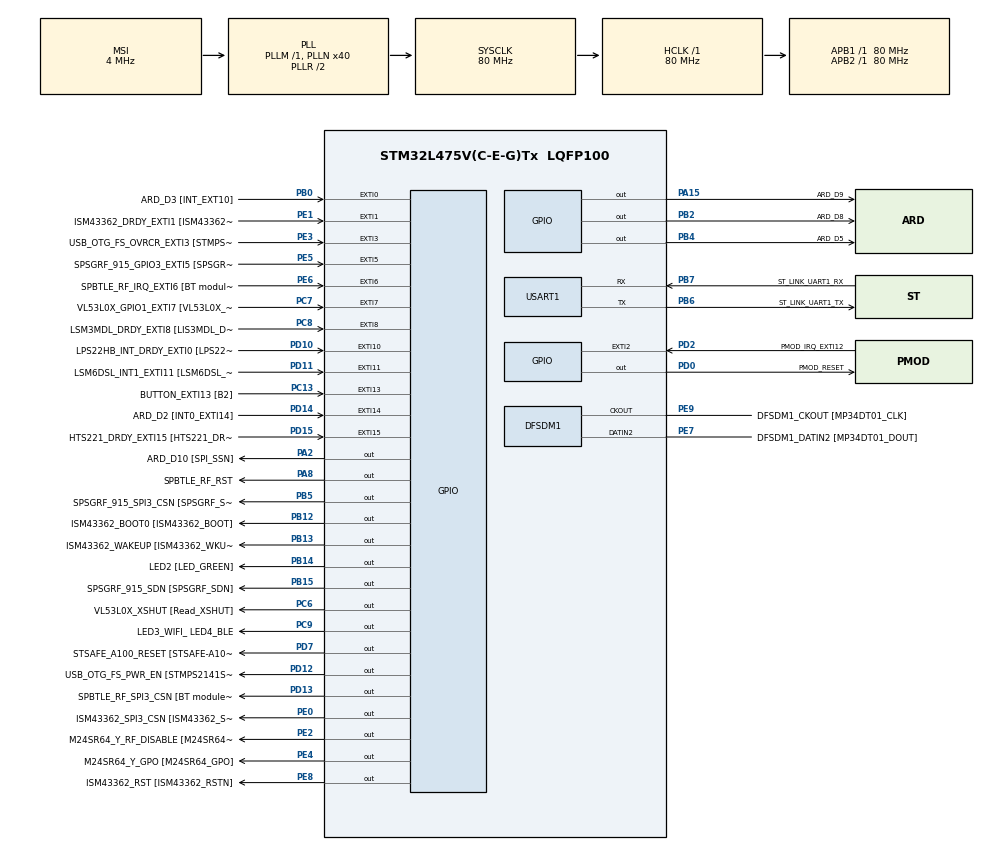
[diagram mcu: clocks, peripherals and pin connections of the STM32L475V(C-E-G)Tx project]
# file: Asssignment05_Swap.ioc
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Mcu.Family=STM32L4
Mcu.Name=STM32L475V(C-E-G)Tx
Mcu.Package=LQFP100
NVIC.EXTI15_10_IRQn=true\:0\:0\:false\:false\:true\:true\:true\:true
NVIC.EXTI9_5_IRQn=true\:0\:0\:false\:false\:true\:true\:true\:true
NVIC.PriorityGroup=NVIC_PRIORITYGROUP_4
PA0.GPIO_Label=ARD_D1 [UART4_TX]
PA0.Signal=UART4_TX
PA1.GPIO_Label=ARD_D0 [UART4_RX]
PA1.Signal=UART4_RX
PA10.GPIO_Label=USB_OTG_FS_ID
PA10.Signal=USB_OTG_FS_ID
PA11.GPIO_Label=USB_OTG_FS_DM
PA11.Signal=USB_OTG_FS_DM
PA12.GPIO_Label=USB_OTG_FS_DP
PA12.Signal=USB_OTG_FS_DP
PA13\ (JTMS-SWDIO).GPIO_Label=SYS_JTMS_SWDIO
PA13\ (JTMS-SWDIO).Mode=Serial_Wire
PA13\ (JTMS-SWDIO).Signal=SYS_JTMS-SWDIO
PA14\ (JTCK-SWCLK).GPIO_Label=SYS_JTCK_SWCLK
PA14\ (JTCK-SWCLK).Mode=Serial_Wire
PA14\ (JTCK-SWCLK).Signal=SYS_JTCK-SWCLK
PA15\ (JTDI).GPIO_Label=ARD_D9
PA15\ (JTDI).Signal=GPIO_Output
PA2.GPIO_Label=ARD_D10 [SPI_SSN]
PA2.Signal=GPIO_Output
PA3.GPIO_Label=ARD_D4
PA3.Signal=S_TIM2_CH4
PA4.GPIO_Label=ARD_D7
PA4.Signal=ADCx_IN9
PA5.GPIO_Label=ARD_D13 [SPI1_SCK]
PA5.Signal=SPI1_SCK
PA6.GPIO_Label=ARD_D12 [SPI1_MISO]
PA6.Signal=SPI1_MISO
PA7.GPIO_Label=ARD_D11 [SPI1_MOSI]
PA7.Signal=SPI1_MOSI
PA8.GPIO_Label=SPBTLE_RF_RST
PA8.Signal=GPIO_Output
PA9.GPIO_Label=USB_OTG_FS_VBUS [STMPS2141STR_OUT]
PA9.Signal=USB_OTG_FS_VBUS
PB0.GPIO_Label=ARD_D3 [INT_EXT10]
PB0.Signal=GPXTI0
PB1.GPIO_Label=ARD_D6 [ADC1_IN6]
PB1.Signal=ADCx_IN16
PB10.GPIO_Label=INTERNAL_I2C2_SCL [VL53L0X_SCL]
PB10.GPIO_Pu=GPIO_PULLUP
PB10.Signal=I2C2_SCL
PB11.GPIO_Label=INTERNAL_I2C2_SDA [VL53L0X_SDA]
PB11.GPIO_Pu=GPIO_PULLUP
PB11.Signal=I2C2_SDA
PB12.GPIO_Label=ISM43362_BOOT0 [ISM43362_BOOT]
PB12.Signal=GPIO_Output
PB13.GPIO_Label=ISM43362_WAKEUP [ISM43362_WKUP]
PB13.Signal=GPIO_Output
PB14.GPIO_Label=LED2 [LED_GREEN]
PB14.Signal=GPIO_Output
PB15.GPIO_Label=SPSGRF_915_SDN [SPSGRF_SDN]
PB15.Signal=GPIO_Output
PB2.GPIO_Label=ARD_D8
PB2.Signal=GPIO_Output
PB3\ (JTDO-TRACESWO).GPIO_Label=SYS_JTD0_SWO
PB3\ (JTDO-TRACESWO).Signal=SYS_JTDO-SWO
PB4\ (NJTRST).GPIO_Label=ARD_D5
PB4\ (NJTRST).Signal=GPIO_Output
PB5.GPIO_Label=SPSGRF_915_SPI3_CSN [SPSGRF_SPI_CS]
PB5.PinState=GPIO_PIN_SET
PB5.Signal=GPIO_Output
PB6.GPIO_Label=ST_LINK_UART1_TX
PB6.Mode=Asynchronous
PB6.Signal=USART1_TX
PB7.GPIO_Label=ST_LINK_UART1_RX
PB7.Mode=Asynchronous
PB7.Signal=USART1_RX
PB8.GPIO_Label=ARD_D15 [I2C1_SCL]
PB8.Signal=I2C1_SCL
PB9.GPIO_Label=ARD_D14 [I2C1_SDA]
PB9.Signal=I2C1_SDA
PC0.GPIO_Label=ARD_A5 [ADC]
PC0.Signal=ADCx_IN1
PC1.GPIO_Label=ARD_A4 [ADC]
PC1.Signal=ADCx_IN2
PC10.GPIO_Label=INTERNAL_SPI3_SCK [BT module_SPI_SCLK] [ISM43362_SCK]
PC10.Signal=SPI3_SCK
PC11.GPIO_Label=INTERNAL_SPI3_MISO [BT module_SPI_MISO] [ISM43362_MISO]
PC11.Signal=SPI3_MISO
PC12.GPIO_Label=INTERNAL_SPI3_MOSI [BT module_SPI_MOSI] [ISM43362_MOSI]
PC12.Signal=SPI3_MOSI
PC13.GPIO_Label=BUTTON_EXTI13 [B2]
PC13.GPIO_ModeDefaultEXTI=GPIO_MODE_IT_FALLING
PC13.Signal=GPXTI13
PC14-OSC32_IN\ (PC14).Mode=LSE-External-Oscillator
PC14-OSC32_IN\ (PC14).Signal=RCC_OSC32_IN
PC15-OSC32_OUT\ (PC15).Mode=LSE-External-Oscillator
PC15-OSC32_OUT\ (PC15).Signal=RCC_OSC32_OUT
PC2.GPIO_Label=ARD_A3 [ADC]
PC2.Signal=ADCx_IN3
PC3.GPIO_Label=ARD_A2 [ADC]
PC3.Signal=ADCx_IN4
PC4.GPIO_Label=ARD_A1 [ADC]
PC4.Signal=ADCx_IN13
PC5.GPIO_Label=ARD_A0 [ADC]
PC5.Signal=ADCx_IN14
PC6.GPIO_Label=VL53L0X_XSHUT [Read_XSHUT]
PC6.Signal=GPIO_Output
PC7.GPIO_Label=VL53L0X_GPIO1_EXTI7 [VL53L0X_GPIO1]
PC7.Signal=GPXTI7
PC8.GPIO_Label=LSM3MDL_DRDY_EXTI8 [LIS3MDL_DRDY]
PC8.Signal=GPXTI8
PC9.GPIO_Label=LED3_WIFI_ LED4_BLE
PC9.Signal=GPIO_Output
PD0.GPIO_Label=PMOD_RESET
PD0.Signal=GPIO_Output
PD1.GPIO_Label=PMOD_SPI2_SCK
PD1.Signal=SPI2_SCK
PD10.GPIO_Label=LPS22HB_INT_DRDY_EXTI0 [LPS22HB_INT_DRDY] 
PD10.Signal=GPXTI10
PD11.GPIO_Label=LSM6DSL_INT1_EXTI11 [LSM6DSL_INT1]
PD11.Signal=GPXTI11
PD12.GPIO_Label=USB_OTG_FS_PWR_EN [STMPS2141STR_EN]
PD12.Signal=GPIO_Output
PD13.GPIO_Label=SPBTLE_RF_SPI3_CSN [BT module_SPI_CS]
PD13.PinState=GPIO_PIN_SET
PD13.Signal=GPIO_Output
PD14.GPIO_Label=ARD_D2 [INT0_EXTI14]
PD14.Signal=GPXTI14
PD15.GPIO_Label=HTS221_DRDY_EXTI15 [HTS221_DRDY]
PD15.Signal=GPXTI15
PD2.GPIO_Label=PMOD_IRQ_EXTI12
PD2.Signal=GPXTI2
PD3.GPIO_Label=PMOD_UART2_CTS
PD3.Signal=USART2_CTS
PD4.GPIO_Label=PMOD_UART2_RTS
PD4.Signal=USART2_RTS
PD5.GPIO_Label=PMOD_UART2_TX
PD5.Signal=USART2_TX
PD6.GPIO_Label=PMOD_UART2_RX
PD6.Signal=USART2_RX
PD7.GPIO_Label=STSAFE_A100_RESET [STSAFE-A100_RESET]
PD7.Signal=GPIO_Output
PD8.GPIO_Label=INTERNAL_UART3_TX [ISM43362_RX]
PD8.Signal=USART3_TX
PD9.GPIO_Label=INTERNAL_UART3_RX [ISM43362_TX]
PD9.Signal=USART3_RX
PE0.GPIO_Label=ISM43362_SPI3_CSN [ISM43362_SSN]
PE0.PinState=GPIO_PIN_SET
PE0.Signal=GPIO_Output
PE1.GPIO_Label=ISM43362_DRDY_EXTI1 [ISM43362_DATARDY]
PE1.Signal=GPXTI1
PE10.GPIO_Label=QUADSPI_CLK [MX25R6435F_SCLK]
PE10.Signal=QUADSPI_CLK
PE11.GPIO_Label=QUADSPI_NCS [MX25R6435F_SCLK]
PE11.Signal=QUADSPI_NCS
PE12.GPIO_Label=OQUADSPI_BK1_IO0 [MX25R6435F_IO0]
PE12.Signal=QUADSPI_BK1_IO0
PE13.GPIO_Label=QUADSPI_BK1_IO1 [MX25R6435F_IO1]
PE13.Signal=QUADSPI_BK1_IO1
PE14.GPIO_Label=QUAD_SPI_BK1_IO2 [MX25R6435F_IO2]
PE14.Signal=QUADSPI_BK1_IO2
PE15.GPIO_Label=QUAD_SPI_BK1_IO3 [MX25R6435F_IO3]
PE15.Signal=QUADSPI_BK1_IO3
PE2.GPIO_Label=M24SR64_Y_RF_DISABLE [M24SR64_RFDIS]
PE2.Signal=GPIO_Output
PE3.GPIO_Label=USB_OTG_FS_OVRCR_EXTI3 [STMPS2141STR_FAULT]
PE3.Signal=GPXTI3
PE4.GPIO_Label=M24SR64_Y_GPO [M24SR64_GPO]
PE4.Signal=GPIO_Output
PE5.GPIO_Label=SPSGRF_915_GPIO3_EXTI5 [SPSGRF_GPIO_3]
PE5.Signal=GPXTI5
PE6.GPIO_Label=SPBTLE_RF_IRQ_EXTI6 [BT module_SPI_IRQ]
PE6.Signal=GPXTI6
PE7.GPIO_Label=DFSDM1_DATIN2 [MP34DT01_DOUT]
PE7.Signal=S_DATAIN2DFSDM1
PE8.GPIO_Label=ISM43362_RST [ISM43362_RSTN]
PE8.Signal=GPIO_Output
PE9.GPIO_Label=DFSDM1_CKOUT [MP34DT01_CLK]
PE9.Signal=S_CKOUTDFSDM1
ProjectManager.HeapSize=0x200
ProjectManager.StackSize=0x400
ProjectManager.TargetToolchain=STM32CubeIDE
RCC.ADCFreq_Value=48000000
RCC.AHBFreq_Value=80000000
RCC.APB1Freq_Value=80000000
RCC.APB1TimFreq_Value=80000000
RCC.APB2Freq_Value=80000000
RCC.APB2TimFreq_Value=80000000
RCC.CortexFreq_Value=80000000
RCC.HCLKFreq_Value=80000000
RCC.HSE_VALUE=8000000
RCC.HSI_VALUE=16000000
RCC.MSI_VALUE=4000000
RCC.PLLN=40
RCC.PLLSAI1N=24
RCC.SYSCLKFreq_VALUE=80000000
RCC.SYSCLKSource=RCC_SYSCLKSOURCE_PLLCLK
RCC.USBFreq_Value=48000000
RCC.VCOOutputFreq_Value=160000000
SH.ADCx_IN1.0=ADC1_IN1
SH.ADCx_IN13.0=ADC1_IN13
SH.ADCx_IN14.0=ADC1_IN14
SH.ADCx_IN16.0=ADC1_IN16
SH.ADCx_IN2.0=ADC1_IN2
SH.ADCx_IN3.0=ADC1_IN3
SH.ADCx_IN4.0=ADC1_IN4
SH.ADCx_IN9.0=ADC1_IN9
SH.S_CKOUTDFSDM1.0=DFSDM1_CKOUT,CKOUT
SH.S_CKOUTDFSDM1.1=DFSDM1_CKOUT,PDM_SPI_Input_from_ch12_and_Internal_Clock
SH.S_DATAIN2DFSDM1.0=DFSDM1_DATIN2,PDM_SPI_Input_from_ch12_and_Internal_Clock
SH.S_TIM2_CH4.0=TIM2_CH4
USART1.VirtualMode-Asynchronous=VM_ASYNC
board=B-L475E-IOT01A1

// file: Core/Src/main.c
/* USER CODE BEGIN Header */
/**
  ******************************************************************************
  * @file           : main.c
  * @brief          : Main program body
  ******************************************************************************
  * @attention
  *
  * Copyright (c) 2023 STMicroelectronics.
  * All rights reserved.
  *
  * This software is licensed under terms that can be found in the LICENSE file
  * in the root directory of this software component.
  * If no LICENSE file comes with this software, it is provided AS-IS.
  *
  ******************************************************************************
  */
/* USER CODE END Header */
#include "main.h"

/* USER CODE BEGIN Includes */
#include <stdio.h>
/* USER CODE END Includes */

DFSDM_Channel_HandleTypeDef hdfsdm1_channel1;

UART_HandleTypeDef huart1;

void SystemClock_Config(void);
static void MX_GPIO_Init(void);
static void MX_DFSDM1_Init(void);
static void MX_USART1_UART_Init(void);
/* USER CODE BEGIN PFP */
// You will need to determine the types of the two parameters
void swap_pointers(int** ptr1, int** ptr2);
/* USER CODE END PFP */

/* USER CODE BEGIN 0 */
// You will need to determine the types of the two parameters
void swap_pointers(int** ptr1, int** ptr2)
{
  // Implement the function body here
    int *temp = *ptr1;
    *ptr1 = *ptr2;
    *ptr2 = temp;

}
/* USER CODE END 0 */

int main(void)
{
  /* USER CODE BEGIN 1 */
  int a = 1234;
  int b = 5678;
  int* pa =&a;
  int* pb =&b;

  /* USER CODE END 1 */

  /* MCU Configuration--------------------------------------------------------*/

  /* Reset of all peripherals, Initializes the Flash interface and the Systick. */
  HAL_Init();

  /* Configure the system clock */
  SystemClock_Config();

  /* Initialize all configured peripherals */
  MX_GPIO_Init();
  MX_DFSDM1_Init();
  MX_USART1_UART_Init();

  /* Infinite loop */
  while (1)
  {

    /* USER CODE BEGIN 3 */
    // Change the print to display the pointer addresses using %p
    printf("Before swap: a=%p, b=%p\r\n", *pa, *pb);
    printf("\n");
    //HAL_Delay(1000);
    // modify with the appropriate arguments:
    swap_pointers(&pa, &pb);
    //swap_pointers(a, b);

    // Change the print to display the pointer addresses using %p
    printf("After swap:  a=%p, b=%p\r\n", *pa, *pb);
    printf("\n");
    HAL_Delay(1000);
  }
  /* USER CODE END 3 */
}

void SystemClock_Config(void)
{
  RCC_OscInitTypeDef RCC_OscInitStruct = {0};
  RCC_ClkInitTypeDef RCC_ClkInitStruct = {0};

  /** Configure the main internal regulator output voltage
  */
  if (HAL_PWREx_ControlVoltageScaling(PWR_REGULATOR_VOLTAGE_SCALE1) != HAL_OK)
  {
    Error_Handler();
  }

  /** Configure LSE Drive Capability
  */
  HAL_PWR_EnableBkUpAccess();
  __HAL_RCC_LSEDRIVE_CONFIG(RCC_LSEDRIVE_LOW);

  /** Initializes the RCC Oscillators according to the specified parameters
  * in the RCC_OscInitTypeDef structure.
  */
  RCC_OscInitStruct.OscillatorType = RCC_OSCILLATORTYPE_LSE|RCC_OSCILLATORTYPE_MSI;
  RCC_OscInitStruct.LSEState = RCC_LSE_ON;
  RCC_OscInitStruct.MSIState = RCC_MSI_ON;
  RCC_OscInitStruct.MSICalibrationValue = 0;
  RCC_OscInitStruct.MSIClockRange = RCC_MSIRANGE_6;
  RCC_OscInitStruct.PLL.PLLState = RCC_PLL_ON;
  RCC_OscInitStruct.PLL.PLLSource = RCC_PLLSOURCE_MSI;
  RCC_OscInitStruct.PLL.PLLM = 1;
  RCC_OscInitStruct.PLL.PLLN = 40;
  RCC_OscInitStruct.PLL.PLLP = RCC_PLLP_DIV7;
  RCC_OscInitStruct.PLL.PLLQ = RCC_PLLQ_DIV2;
  RCC_OscInitStruct.PLL.PLLR = RCC_PLLR_DIV2;
  if (HAL_RCC_OscConfig(&RCC_OscInitStruct) != HAL_OK)
  {
    Error_Handler();
  }

  /** Initializes the CPU, AHB and APB buses clocks
  */
  RCC_ClkInitStruct.ClockType = RCC_CLOCKTYPE_HCLK|RCC_CLOCKTYPE_SYSCLK
                              |RCC_CLOCKTYPE_PCLK1|RCC_CLOCKTYPE_PCLK2;
  RCC_ClkInitStruct.SYSCLKSource = RCC_SYSCLKSOURCE_PLLCLK;
  RCC_ClkInitStruct.AHBCLKDivider = RCC_SYSCLK_DIV1;
  RCC_ClkInitStruct.APB1CLKDivider = RCC_HCLK_DIV1;
  RCC_ClkInitStruct.APB2CLKDivider = RCC_HCLK_DIV1;

  if (HAL_RCC_ClockConfig(&RCC_ClkInitStruct, FLASH_LATENCY_4) != HAL_OK)
  {
    Error_Handler();
  }

  /** Enable MSI Auto calibration
  */
  HAL_RCCEx_EnableMSIPLLMode();
}

static void MX_DFSDM1_Init(void)
{

  hdfsdm1_channel1.Instance = DFSDM1_Channel1;
  hdfsdm1_channel1.Init.OutputClock.Activation = ENABLE;
  hdfsdm1_channel1.Init.OutputClock.Selection = DFSDM_CHANNEL_OUTPUT_CLOCK_SYSTEM;
  hdfsdm1_channel1.Init.OutputClock.Divider = 2;
  hdfsdm1_channel1.Init.Input.Multiplexer = DFSDM_CHANNEL_EXTERNAL_INPUTS;
  hdfsdm1_channel1.Init.Input.DataPacking = DFSDM_CHANNEL_STANDARD_MODE;
  hdfsdm1_channel1.Init.Input.Pins = DFSDM_CHANNEL_FOLLOWING_CHANNEL_PINS;
  hdfsdm1_channel1.Init.SerialInterface.Type = DFSDM_CHANNEL_SPI_RISING;
  hdfsdm1_channel1.Init.SerialInterface.SpiClock = DFSDM_CHANNEL_SPI_CLOCK_INTERNAL;
  hdfsdm1_channel1.Init.Awd.FilterOrder = DFSDM_CHANNEL_FASTSINC_ORDER;
  hdfsdm1_channel1.Init.Awd.Oversampling = 1;
  hdfsdm1_channel1.Init.Offset = 0;
  hdfsdm1_channel1.Init.RightBitShift = 0x00;
  if (HAL_DFSDM_ChannelInit(&hdfsdm1_channel1) != HAL_OK)
  {
    Error_Handler();
  }

}

static void MX_USART1_UART_Init(void)
{

  huart1.Instance = USART1;
  huart1.Init.BaudRate = 115200;
  huart1.Init.WordLength = UART_WORDLENGTH_8B;
  huart1.Init.StopBits = UART_STOPBITS_1;
  huart1.Init.Parity = UART_PARITY_NONE;
  huart1.Init.Mode = UART_MODE_TX_RX;
  huart1.Init.HwFlowCtl = UART_HWCONTROL_NONE;
  huart1.Init.OverSampling = UART_OVERSAMPLING_16;
  huart1.Init.OneBitSampling = UART_ONE_BIT_SAMPLE_DISABLE;
  huart1.AdvancedInit.AdvFeatureInit = UART_ADVFEATURE_NO_INIT;
  if (HAL_UART_Init(&huart1) != HAL_OK)
  {
    Error_Handler();
  }

}

static void MX_GPIO_Init(void)
{
  GPIO_InitTypeDef GPIO_InitStruct = {0};

  /* GPIO Ports Clock Enable */
  __HAL_RCC_GPIOE_CLK_ENABLE();
  __HAL_RCC_GPIOC_CLK_ENABLE();
  __HAL_RCC_GPIOA_CLK_ENABLE();
  __HAL_RCC_GPIOB_CLK_ENABLE();
  __HAL_RCC_GPIOD_CLK_ENABLE();

  /*Configure GPIO pin Output Level */
  HAL_GPIO_WritePin(GPIOE, M24SR64_Y_RF_DISABLE_Pin|M24SR64_Y_GPO_Pin|ISM43362_RST_Pin, GPIO_PIN_RESET);

  /*Configure GPIO pin Output Level */
  HAL_GPIO_WritePin(GPIOA, ARD_D10_Pin|SPBTLE_RF_RST_Pin|ARD_D9_Pin, GPIO_PIN_RESET);

  /*Configure GPIO pin Output Level */
  HAL_GPIO_WritePin(GPIOB, ARD_D8_Pin|ISM43362_BOOT0_Pin|ISM43362_WAKEUP_Pin|LED2_Pin
                          |SPSGRF_915_SDN_Pin|ARD_D5_Pin, GPIO_PIN_RESET);

  /*Configure GPIO pin Output Level */
  HAL_GPIO_WritePin(GPIOD, USB_OTG_FS_PWR_EN_Pin|PMOD_RESET_Pin|STSAFE_A100_RESET_Pin, GPIO_PIN_RESET);

  /*Configure GPIO pin Output Level */
  HAL_GPIO_WritePin(SPBTLE_RF_SPI3_CSN_GPIO_Port, SPBTLE_RF_SPI3_CSN_Pin, GPIO_PIN_SET);

  /*Configure GPIO pin Output Level */
  HAL_GPIO_WritePin(GPIOC, VL53L0X_XSHUT_Pin|LED3_WIFI__LED4_BLE_Pin, GPIO_PIN_RESET);

  /*Configure GPIO pin Output Level */
  HAL_GPIO_WritePin(SPSGRF_915_SPI3_CSN_GPIO_Port, SPSGRF_915_SPI3_CSN_Pin, GPIO_PIN_SET);

  /*Configure GPIO pin Output Level */
  HAL_GPIO_WritePin(ISM43362_SPI3_CSN_GPIO_Port, ISM43362_SPI3_CSN_Pin, GPIO_PIN_SET);

  /*Configure GPIO pins : M24SR64_Y_RF_DISABLE_Pin M24SR64_Y_GPO_Pin ISM43362_RST_Pin ISM43362_SPI3_CSN_Pin */
  GPIO_InitStruct.Pin = M24SR64_Y_RF_DISABLE_Pin|M24SR64_Y_GPO_Pin|ISM43362_RST_Pin|ISM43362_SPI3_CSN_Pin;
  GPIO_InitStruct.Mode = GPIO_MODE_OUTPUT_PP;
  GPIO_InitStruct.Pull = GPIO_NOPULL;
  GPIO_InitStruct.Speed = GPIO_SPEED_FREQ_LOW;
  HAL_GPIO_Init(GPIOE, &GPIO_InitStruct);

  /*Configure GPIO pins : USB_OTG_FS_OVRCR_EXTI3_Pin SPSGRF_915_GPIO3_EXTI5_Pin SPBTLE_RF_IRQ_EXTI6_Pin ISM43362_DRDY_EXTI1_Pin */
  GPIO_InitStruct.Pin = USB_OTG_FS_OVRCR_EXTI3_Pin|SPSGRF_915_GPIO3_EXTI5_Pin|SPBTLE_RF_IRQ_EXTI6_Pin|ISM43362_DRDY_EXTI1_Pin;
  GPIO_InitStruct.Mode = GPIO_MODE_IT_RISING;
  GPIO_InitStruct.Pull = GPIO_NOPULL;
  HAL_GPIO_Init(GPIOE, &GPIO_InitStruct);

  /*Configure GPIO pin : BUTTON_EXTI13_Pin */
  GPIO_InitStruct.Pin = BUTTON_EXTI13_Pin;
  GPIO_InitStruct.Mode = GPIO_MODE_IT_FALLING;
  GPIO_InitStruct.Pull = GPIO_NOPULL;
  HAL_GPIO_Init(BUTTON_EXTI13_GPIO_Port, &GPIO_InitStruct);

  /*Configure GPIO pins : ARD_A5_Pin ARD_A4_Pin ARD_A3_Pin ARD_A2_Pin
                           ARD_A1_Pin ARD_A0_Pin */
  GPIO_InitStruct.Pin = ARD_A5_Pin|ARD_A4_Pin|ARD_A3_Pin|ARD_A2_Pin
                          |ARD_A1_Pin|ARD_A0_Pin;
  GPIO_InitStruct.Mode = GPIO_MODE_ANALOG_ADC_CONTROL;
  GPIO_InitStruct.Pull = GPIO_NOPULL;
  HAL_GPIO_Init(GPIOC, &GPIO_InitStruct);

  /*Configure GPIO pins : ARD_D1_Pin ARD_D0_Pin */
  GPIO_InitStruct.Pin = ARD_D1_Pin|ARD_D0_Pin;
  GPIO_InitStruct.Mode = GPIO_MODE_AF_PP;
  GPIO_InitStruct.Pull = GPIO_NOPULL;
  GPIO_InitStruct.Speed = GPIO_SPEED_FREQ_VERY_HIGH;
  GPIO_InitStruct.Alternate = GPIO_AF8_UART4;
  HAL_GPIO_Init(GPIOA, &GPIO_InitStruct);

  /*Configure GPIO pins : ARD_D10_Pin SPBTLE_RF_RST_Pin ARD_D9_Pin */
  GPIO_InitStruct.Pin = ARD_D10_Pin|SPBTLE_RF_RST_Pin|ARD_D9_Pin;
  GPIO_InitStruct.Mode = GPIO_MODE_OUTPUT_PP;
  GPIO_InitStruct.Pull = GPIO_NOPULL;
  GPIO_InitStruct.Speed = GPIO_SPEED_FREQ_LOW;
  HAL_GPIO_Init(GPIOA, &GPIO_InitStruct);

  /*Configure GPIO pin : ARD_D4_Pin */
  GPIO_InitStruct.Pin = ARD_D4_Pin;
  GPIO_InitStruct.Mode = GPIO_MODE_AF_PP;
  GPIO_InitStruct.Pull = GPIO_NOPULL;
  GPIO_InitStruct.Speed = GPIO_SPEED_FREQ_LOW;
  GPIO_InitStruct.Alternate = GPIO_AF1_TIM2;
  HAL_GPIO_Init(ARD_D4_GPIO_Port, &GPIO_InitStruct);

  /*Configure GPIO pin : ARD_D7_Pin */
  GPIO_InitStruct.Pin = ARD_D7_Pin;
  GPIO_InitStruct.Mode = GPIO_MODE_ANALOG_ADC_CONTROL;
  GPIO_InitStruct.Pull = GPIO_NOPULL;
  HAL_GPIO_Init(ARD_D7_GPIO_Port, &GPIO_InitStruct);

  /*Configure GPIO pins : ARD_D13_Pin ARD_D12_Pin ARD_D11_Pin */
  GPIO_InitStruct.Pin = ARD_D13_Pin|ARD_D12_Pin|ARD_D11_Pin;
  GPIO_InitStruct.Mode = GPIO_MODE_AF_PP;
  GPIO_InitStruct.Pull = GPIO_NOPULL;
  GPIO_InitStruct.Speed = GPIO_SPEED_FREQ_VERY_HIGH;
  GPIO_InitStruct.Alternate = GPIO_AF5_SPI1;
  HAL_GPIO_Init(GPIOA, &GPIO_InitStruct);

  /*Configure GPIO pin : ARD_D3_Pin */
  GPIO_InitStruct.Pin = ARD_D3_Pin;
  GPIO_InitStruct.Mode = GPIO_MODE_IT_RISING;
  GPIO_InitStruct.Pull = GPIO_NOPULL;
  HAL_GPIO_Init(ARD_D3_GPIO_Port, &GPIO_InitStruct);

  /*Configure GPIO pin : ARD_D6_Pin */
  GPIO_InitStruct.Pin = ARD_D6_Pin;
  GPIO_InitStruct.Mode = GPIO_MODE_ANALOG_ADC_CONTROL;
  GPIO_InitStruct.Pull = GPIO_NOPULL;
  HAL_GPIO_Init(ARD_D6_GPIO_Port, &GPIO_InitStruct);

  /*Configure GPIO pins : ARD_D8_Pin ISM43362_BOOT0_Pin ISM43362_WAKEUP_Pin LED2_Pin
                           SPSGRF_915_SDN_Pin ARD_D5_Pin SPSGRF_915_SPI3_CSN_Pin */
  GPIO_InitStruct.Pin = ARD_D8_Pin|ISM43362_BOOT0_Pin|ISM43362_WAKEUP_Pin|LED2_Pin
                          |SPSGRF_915_SDN_Pin|ARD_D5_Pin|SPSGRF_915_SPI3_CSN_Pin;
  GPIO_InitStruct.Mode = GPIO_MODE_OUTPUT_PP;
  GPIO_InitStruct.Pull = GPIO_NOPULL;
  GPIO_InitStruct.Speed = GPIO_SPEED_FREQ_LOW;
  HAL_GPIO_Init(GPIOB, &GPIO_InitStruct);

  /*Configure GPIO pins : QUADSPI_CLK_Pin QUADSPI_NCS_Pin OQUADSPI_BK1_IO0_Pin QUADSPI_BK1_IO1_Pin
                           QUAD_SPI_BK1_IO2_Pin QUAD_SPI_BK1_IO3_Pin */
  GPIO_InitStruct.Pin = QUADSPI_CLK_Pin|QUADSPI_NCS_Pin|OQUADSPI_BK1_IO0_Pin|QUADSPI_BK1_IO1_Pin
                          |QUAD_SPI_BK1_IO2_Pin|QUAD_SPI_BK1_IO3_Pin;
  GPIO_InitStruct.Mode = GPIO_MODE_AF_PP;
  GPIO_InitStruct.Pull = GPIO_NOPULL;
  GPIO_InitStruct.Speed = GPIO_SPEED_FREQ_VERY_HIGH;
  GPIO_InitStruct.Alternate = GPIO_AF10_QUADSPI;
  HAL_GPIO_Init(GPIOE, &GPIO_InitStruct);

  /*Configure GPIO pins : INTERNAL_I2C2_SCL_Pin INTERNAL_I2C2_SDA_Pin */
  GPIO_InitStruct.Pin = INTERNAL_I2C2_SCL_Pin|INTERNAL_I2C2_SDA_Pin;
  GPIO_InitStruct.Mode = GPIO_MODE_AF_OD;
  GPIO_InitStruct.Pull = GPIO_PULLUP;
  GPIO_InitStruct.Speed = GPIO_SPEED_FREQ_VERY_HIGH;
  GPIO_InitStruct.Alternate = GPIO_AF4_I2C2;
  HAL_GPIO_Init(GPIOB, &GPIO_InitStruct);

  /*Configure GPIO pins : INTERNAL_UART3_TX_Pin INTERNAL_UART3_RX_Pin */
  GPIO_InitStruct.Pin = INTERNAL_UART3_TX_Pin|INTERNAL_UART3_RX_Pin;
  GPIO_InitStruct.Mode = GPIO_MODE_AF_PP;
  GPIO_InitStruct.Pull = GPIO_NOPULL;
  GPIO_InitStruct.Speed = GPIO_SPEED_FREQ_VERY_HIGH;
  GPIO_InitStruct.Alternate = GPIO_AF7_USART3;
  HAL_GPIO_Init(GPIOD, &GPIO_InitStruct);

  /*Configure GPIO pins : LPS22HB_INT_DRDY_EXTI0_Pin LSM6DSL_INT1_EXTI11_Pin ARD_D2_Pin HTS221_DRDY_EXTI15_Pin
                           PMOD_IRQ_EXTI12_Pin */
  GPIO_InitStruct.Pin = LPS22HB_INT_DRDY_EXTI0_Pin|LSM6DSL_INT1_EXTI11_Pin|ARD_D2_Pin|HTS221_DRDY_EXTI15_Pin
                          |PMOD_IRQ_EXTI12_Pin;
  GPIO_InitStruct.Mode = GPIO_MODE_IT_RISING;
  GPIO_InitStruct.Pull = GPIO_NOPULL;
  HAL_GPIO_Init(GPIOD, &GPIO_InitStruct);

  /*Configure GPIO pins : USB_OTG_FS_PWR_EN_Pin SPBTLE_RF_SPI3_CSN_Pin PMOD_RESET_Pin STSAFE_A100_RESET_Pin */
  GPIO_InitStruct.Pin = USB_OTG_FS_PWR_EN_Pin|SPBTLE_RF_SPI3_CSN_Pin|PMOD_RESET_Pin|STSAFE_A100_RESET_Pin;
  GPIO_InitStruct.Mode = GPIO_MODE_OUTPUT_PP;
  GPIO_InitStruct.Pull = GPIO_NOPULL;
  GPIO_InitStruct.Speed = GPIO_SPEED_FREQ_LOW;
  HAL_GPIO_Init(GPIOD, &GPIO_InitStruct);

  /*Configure GPIO pins : VL53L0X_XSHUT_Pin LED3_WIFI__LED4_BLE_Pin */
  GPIO_InitStruct.Pin = VL53L0X_XSHUT_Pin|LED3_WIFI__LED4_BLE_Pin;
  GPIO_InitStruct.Mode = GPIO_MODE_OUTPUT_PP;
  GPIO_InitStruct.Pull = GPIO_NOPULL;
  GPIO_InitStruct.Speed = GPIO_SPEED_FREQ_LOW;
  HAL_GPIO_Init(GPIOC, &GPIO_InitStruct);

  /*Configure GPIO pins : VL53L0X_GPIO1_EXTI7_Pin LSM3MDL_DRDY_EXTI8_Pin */
  GPIO_InitStruct.Pin = VL53L0X_GPIO1_EXTI7_Pin|LSM3MDL_DRDY_EXTI8_Pin;
  GPIO_InitStruct.Mode = GPIO_MODE_IT_RISING;
  GPIO_InitStruct.Pull = GPIO_NOPULL;
  HAL_GPIO_Init(GPIOC, &GPIO_InitStruct);

  /*Configure GPIO pin : USB_OTG_FS_VBUS_Pin */
  GPIO_InitStruct.Pin = USB_OTG_FS_VBUS_Pin;
  GPIO_InitStruct.Mode = GPIO_MODE_INPUT;
  GPIO_InitStruct.Pull = GPIO_NOPULL;
  HAL_GPIO_Init(USB_OTG_FS_VBUS_GPIO_Port, &GPIO_InitStruct);

  /*Configure GPIO pins : USB_OTG_FS_ID_Pin USB_OTG_FS_DM_Pin USB_OTG_FS_DP_Pin */
  GPIO_InitStruct.Pin = USB_OTG_FS_ID_Pin|USB_OTG_FS_DM_Pin|USB_OTG_FS_DP_Pin;
  GPIO_InitStruct.Mode = GPIO_MODE_AF_PP;
  GPIO_InitStruct.Pull = GPIO_NOPULL;
  GPIO_InitStruct.Speed = GPIO_SPEED_FREQ_VERY_HIGH;
  GPIO_InitStruct.Alternate = GPIO_AF10_OTG_FS;
  HAL_GPIO_Init(GPIOA, &GPIO_InitStruct);

  /*Configure GPIO pins : INTERNAL_SPI3_SCK_Pin INTERNAL_SPI3_MISO_Pin INTERNAL_SPI3_MOSI_Pin */
  GPIO_InitStruct.Pin = INTERNAL_SPI3_SCK_Pin|INTERNAL_SPI3_MISO_Pin|INTERNAL_SPI3_MOSI_Pin;
  GPIO_InitStruct.Mode = GPIO_MODE_AF_PP;
  GPIO_InitStruct.Pull = GPIO_NOPULL;
  GPIO_InitStruct.Speed = GPIO_SPEED_FREQ_VERY_HIGH;
  GPIO_InitStruct.Alternate = GPIO_AF6_SPI3;
  HAL_GPIO_Init(GPIOC, &GPIO_InitStruct);

  /*Configure GPIO pin : PMOD_SPI2_SCK_Pin */
  GPIO_InitStruct.Pin = PMOD_SPI2_SCK_Pin;
  GPIO_InitStruct.Mode = GPIO_MODE_AF_PP;
  GPIO_InitStruct.Pull = GPIO_NOPULL;
  GPIO_InitStruct.Speed = GPIO_SPEED_FREQ_VERY_HIGH;
  GPIO_InitStruct.Alternate = GPIO_AF5_SPI2;
  HAL_GPIO_Init(PMOD_SPI2_SCK_GPIO_Port, &GPIO_InitStruct);

  /*Configure GPIO pins : PMOD_UART2_CTS_Pin PMOD_UART2_RTS_Pin PMOD_UART2_TX_Pin PMOD_UART2_RX_Pin */
  GPIO_InitStruct.Pin = PMOD_UART2_CTS_Pin|PMOD_UART2_RTS_Pin|PMOD_UART2_TX_Pin|PMOD_UART2_RX_Pin;
  GPIO_InitStruct.Mode = GPIO_MODE_AF_PP;
  GPIO_InitStruct.Pull = GPIO_NOPULL;
  GPIO_InitStruct.Speed = GPIO_SPEED_FREQ_VERY_HIGH;
  GPIO_InitStruct.Alternate = GPIO_AF7_USART2;
  HAL_GPIO_Init(GPIOD, &GPIO_InitStruct);

  /*Configure GPIO pins : ARD_D15_Pin ARD_D14_Pin */
  GPIO_InitStruct.Pin = ARD_D15_Pin|ARD_D14_Pin;
  GPIO_InitStruct.Mode = GPIO_MODE_AF_OD;
  GPIO_InitStruct.Pull = GPIO_NOPULL;
  GPIO_InitStruct.Speed = GPIO_SPEED_FREQ_VERY_HIGH;
  GPIO_InitStruct.Alternate = GPIO_AF4_I2C1;
  HAL_GPIO_Init(GPIOB, &GPIO_InitStruct);

  /* EXTI interrupt init*/
  HAL_NVIC_SetPriority(EXTI9_5_IRQn, 0, 0);
  HAL_NVIC_EnableIRQ(EXTI9_5_IRQn);

  HAL_NVIC_SetPriority(EXTI15_10_IRQn, 0, 0);
  HAL_NVIC_EnableIRQ(EXTI15_10_IRQn);

}

void Error_Handler(void)
{
  __disable_irq();
  while (1)
  {
  }
}
